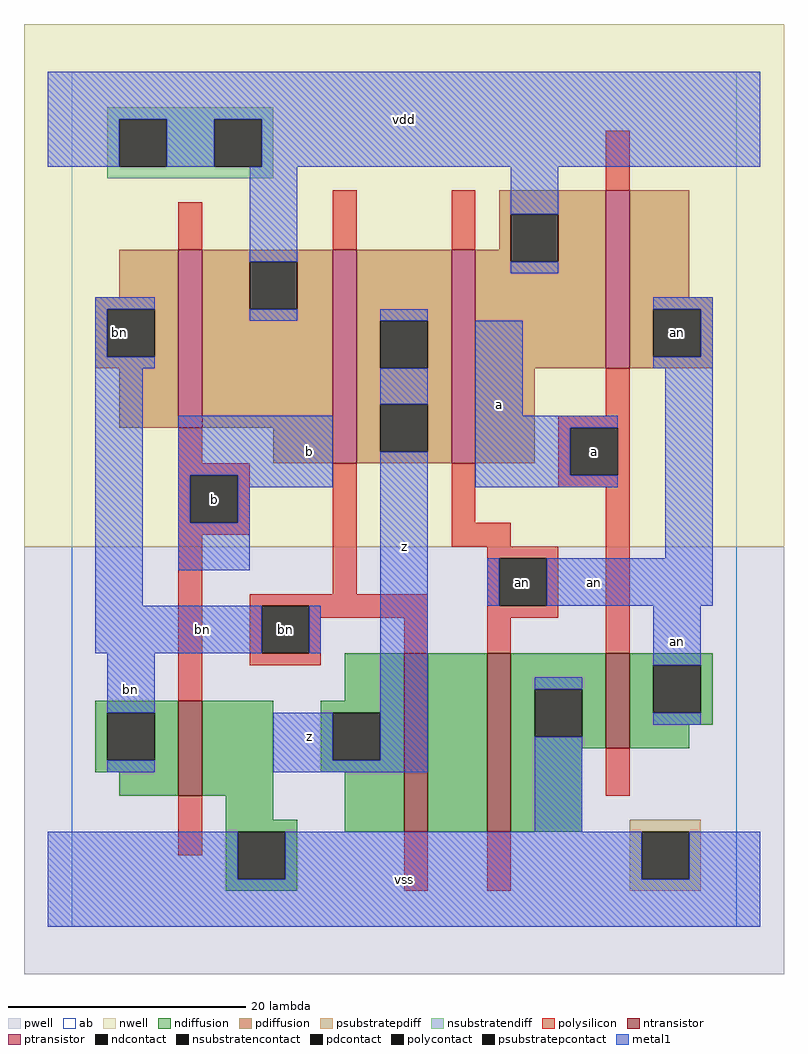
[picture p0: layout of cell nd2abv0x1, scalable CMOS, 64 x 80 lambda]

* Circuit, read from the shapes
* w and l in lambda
.subckt nd2abv0x1 a an b bn vdd vss z
M1 vss b bn vss nfet w=8 l=2
M2 n1 bn z vss nfet w=15 l=2
M3 vss an n1 vss nfet w=15 l=2
M4 an a vss vss nfet w=8 l=2
M5 vdd b bn vdd pfet w=15 l=2
M6 z bn vdd vdd pfet w=18 l=2
M7 vdd an z vdd pfet w=18 l=2
M8 an a vdd vdd pfet w=15 l=2
.ends

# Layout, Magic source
magic
tech scmos
<< ab >>
rect 0 0 56 72
<< pwell >>
rect -4 -4 60 32
<< nwell >>
rect -4 32 60 76
<< polysilicon >>
rect 45 62 47 67
rect 9 57 11 61
rect 22 57 24 62
rect 32 57 34 62
rect 9 39 11 42
rect 45 43 47 47
rect 41 42 47 43
rect 9 38 15 39
rect 9 34 10 38
rect 14 34 15 38
rect 9 33 15 34
rect 9 19 11 33
rect 22 28 24 39
rect 32 34 34 39
rect 41 38 42 42
rect 46 38 47 42
rect 41 37 47 38
rect 32 32 37 34
rect 35 31 41 32
rect 15 27 30 28
rect 15 23 16 27
rect 20 26 30 27
rect 20 23 21 26
rect 28 23 30 26
rect 35 27 36 31
rect 40 27 41 31
rect 35 26 41 27
rect 35 23 37 26
rect 45 23 47 37
rect 15 22 21 23
rect 9 6 11 11
rect 45 11 47 15
rect 28 3 30 8
rect 35 3 37 8
<< ndiffusion >>
rect 23 19 28 23
rect 2 18 9 19
rect 2 14 3 18
rect 7 14 9 18
rect 2 13 9 14
rect 4 11 9 13
rect 11 11 17 19
rect 21 18 28 19
rect 21 14 22 18
rect 26 14 28 18
rect 21 13 28 14
rect 13 9 17 11
rect 13 8 19 9
rect 23 8 28 13
rect 30 8 35 23
rect 37 20 45 23
rect 37 16 39 20
rect 43 16 45 20
rect 37 15 45 16
rect 47 22 54 23
rect 47 18 49 22
rect 53 18 54 22
rect 47 17 54 18
rect 47 15 52 17
rect 37 8 43 15
rect 13 4 14 8
rect 18 4 19 8
rect 13 3 19 4
<< pdiffusion >>
rect 36 60 45 62
rect 36 57 37 60
rect 4 53 9 57
rect 2 52 9 53
rect 2 48 3 52
rect 7 48 9 52
rect 2 47 9 48
rect 4 42 9 47
rect 11 56 22 57
rect 11 52 15 56
rect 19 52 22 56
rect 11 42 22 52
rect 17 39 22 42
rect 24 51 32 57
rect 24 47 26 51
rect 30 47 32 51
rect 24 44 32 47
rect 24 40 26 44
rect 30 40 32 44
rect 24 39 32 40
rect 34 56 37 57
rect 41 56 45 60
rect 34 47 45 56
rect 47 53 52 62
rect 47 52 54 53
rect 47 48 49 52
rect 53 48 54 52
rect 47 47 54 48
rect 34 39 39 47
<< metal1 >>
rect -2 68 58 72
rect -2 64 4 68
rect 8 64 12 68
rect 16 64 58 68
rect 15 56 19 64
rect 2 52 7 53
rect 2 48 3 52
rect 37 60 41 64
rect 37 55 41 56
rect 49 52 54 53
rect 15 51 19 52
rect 26 51 30 52
rect 2 47 7 48
rect 2 27 6 47
rect 26 44 30 47
rect 9 38 22 43
rect 9 34 10 38
rect 14 37 22 38
rect 14 34 15 37
rect 9 30 15 34
rect 2 23 16 27
rect 20 23 21 27
rect 3 18 7 23
rect 3 13 7 14
rect 17 14 22 18
rect 26 14 30 40
rect 34 43 38 51
rect 53 48 54 52
rect 49 47 54 48
rect 34 42 46 43
rect 34 38 42 42
rect 34 37 46 38
rect 50 31 54 47
rect 35 27 36 31
rect 40 27 54 31
rect 49 22 53 27
rect 17 13 30 14
rect 39 20 43 21
rect 49 17 53 18
rect 39 8 43 16
rect -2 4 14 8
rect 18 4 48 8
rect 52 4 58 8
rect -2 0 58 4
<< ntransistor >>
rect 9 11 11 19
rect 28 8 30 23
rect 35 8 37 23
rect 45 15 47 23
<< ptransistor >>
rect 9 42 11 57
rect 22 39 24 57
rect 32 39 34 57
rect 45 47 47 62
<< polycontact >>
rect 10 34 14 38
rect 42 38 46 42
rect 16 23 20 27
rect 36 27 40 31
<< ndcontact >>
rect 3 14 7 18
rect 22 14 26 18
rect 39 16 43 20
rect 49 18 53 22
rect 14 4 18 8
<< pdcontact >>
rect 3 48 7 52
rect 15 52 19 56
rect 26 47 30 51
rect 26 40 30 44
rect 37 56 41 60
rect 49 48 53 52
<< psubstratepcontact >>
rect 48 4 52 8
<< nsubstratencontact >>
rect 4 64 8 68
rect 12 64 16 68
<< psubstratepdiff >>
rect 47 8 53 9
rect 47 4 48 8
rect 52 4 53 8
rect 47 3 53 4
<< nsubstratendiff >>
rect 3 68 17 69
rect 3 64 4 68
rect 8 64 12 68
rect 16 64 17 68
rect 3 63 17 64
<< labels >>
rlabel polycontact 18 25 18 25 6 bn
rlabel polycontact 38 29 38 29 6 an
rlabel metal1 5 20 5 20 6 bn
rlabel pdcontact 4 50 4 50 6 bn
rlabel metal1 20 16 20 16 6 z
rlabel metal1 11 25 11 25 6 bn
rlabel metal1 20 40 20 40 6 b
rlabel polycontact 12 36 12 36 6 b
rlabel metal1 28 4 28 4 6 vss
rlabel metal1 28 32 28 32 6 z
rlabel metal1 36 44 36 44 6 a
rlabel metal1 28 68 28 68 6 vdd
rlabel metal1 51 24 51 24 6 an
rlabel metal1 44 29 44 29 6 an
rlabel polycontact 44 40 44 40 6 a
rlabel pdcontact 51 50 51 50 6 an
<< end >>
